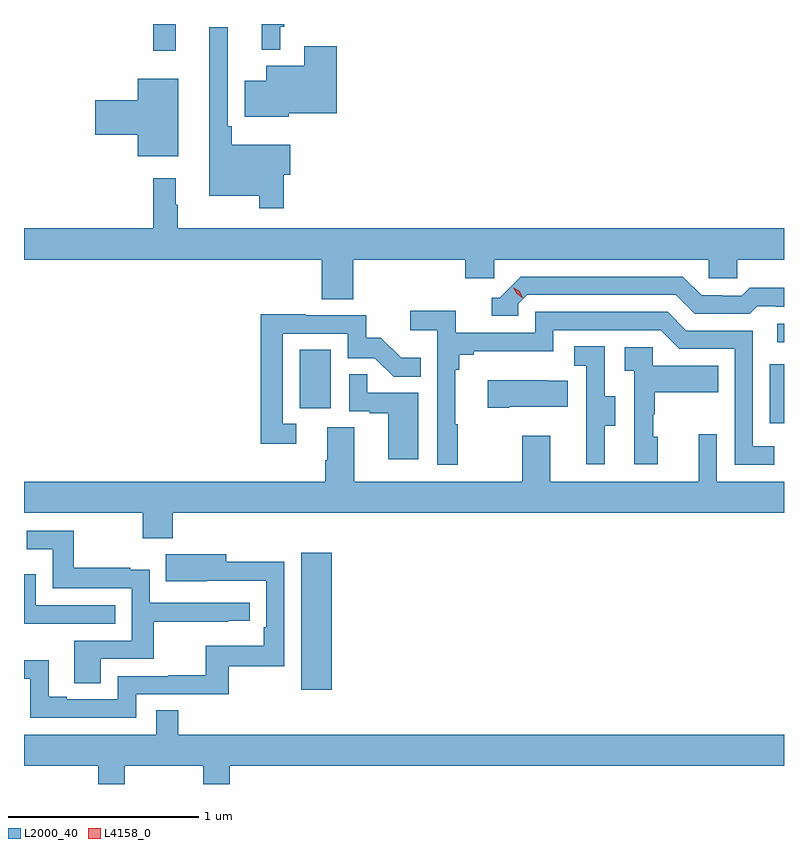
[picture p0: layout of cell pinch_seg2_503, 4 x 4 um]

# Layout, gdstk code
import gdstk
lib = gdstk.Library(unit=1e-6, precision=1e-09)
def R(c, l, rs):  # rectangles x0, y0, x1, y1
    for r in rs: c.add(gdstk.rectangle(r[:2], r[2:], *l))
def P(c, l, *ps):  # polygons
    for p in ps: c.add(gdstk.Polygon(p, *l))
L2000_40 = (2000, 40)
L4158_0 = (4158, 0)

pinch_seg2_503 = lib.new_cell('pinch_seg2_503')
R(pinch_seg2_503, L2000_40, [(1000.493,586.764,1000.654,587.485), (1002.96,588.168,1003.034,588.478), (1000.484,588.246,1000.648,588.553), (1002.999,588.594,1003.034,588.69), (999.715,590.127,999.833,590.268)])
P(pinch_seg2_503, L2000_40, [(1000.383,590.253),(1000.403,590.253),(1000.403,590.268),(1000.286,590.268),(1000.286,590.132),(1000.383,590.132)],
  [(1000.4,589.475),(1000.435,589.475),(1000.435,589.633),(1000.127,589.633),(1000.127,589.729),(1000.107,589.729),(1000.107,590.251),(1000.01,590.251),(1000.01,589.364),(1000.272,589.364),(1000.272,589.299),(1000.4,589.299)],
  [(1000.428,589.799),(1000.679,589.799),(1000.679,590.152),(1000.508,590.152),(1000.508,590.047),(1000.31,590.047),(1000.31,589.969),(1000.196,589.969),(1000.196,589.781),(1000.428,589.781)],
  [(999.847,589.981),(999.632,589.981),(999.632,589.868),(999.408,589.868),(999.408,589.685),(999.632,589.685),(999.632,589.571),(999.847,589.571)],
  [(1000.766,589.028),(1001.357,589.028),(1001.357,588.93),(1001.508,588.93),(1001.508,589.028),(1002.639,589.028),(1002.639,588.93),(1002.789,588.93),(1002.789,589.028),(1003.034,589.028),(1003.034,589.192),(999.844,589.192),(999.844,589.316),(999.832,589.316),(999.832,589.456),(999.715,589.456),(999.715,589.192),(999.034,589.192),(999.034,589.028),(1000.601,589.028),(1000.601,588.82),(1000.766,588.82)],
  [(1001.634,588.795),(1001.682,588.843),(1002.465,588.843),(1002.564,588.744),(1002.853,588.744),(1002.892,588.783),(1002.991,588.783),(1002.991,588.78),(1003.034,588.78),(1003.034,588.88),(1002.853,588.88),(1002.811,588.837),(1002.708,588.837),(1002.708,588.84),(1002.601,588.84),(1002.502,588.939),(1001.649,588.939),(1001.538,588.828),(1001.495,588.828),(1001.495,588.732),(1001.634,588.732)],
  [(1001.317,588.161),(1001.305,588.161),(1001.305,588.449),(1001.324,588.449),(1001.324,588.526),(1001.401,588.526),(1001.401,588.545),(1001.82,588.545),(1001.82,588.657),(1002.384,588.657),(1002.483,588.558),(1002.774,588.558),(1002.774,587.949),(1002.983,587.949),(1002.983,588.045),(1002.87,588.045),(1002.87,588.654),(1002.52,588.654),(1002.421,588.753),(1001.724,588.753),(1001.724,588.642),(1001.306,588.642),(1001.306,588.758),(1001.067,588.758),(1001.067,588.656),(1001.208,588.656),(1001.208,587.949),(1001.317,587.949)],
  [(1000.468,588.165),(1000.395,588.165),(1000.395,588.639),(1000.737,588.639),(1000.737,588.51),(1000.881,588.51),(1000.979,588.412),(1001.123,588.412),(1001.123,588.511),(1001.019,588.511),(1000.912,588.618),(1000.836,588.618),(1000.836,588.735),(1000.517,588.735),(1000.517,588.74),(1000.279,588.74),(1000.279,588.06),(1000.468,588.06)],
  [(1002.091,588.154),(1002.145,588.154),(1002.145,588.309),(1002.09,588.309),(1002.09,588.572),(1001.931,588.572),(1001.931,588.469),(1001.994,588.469),(1001.994,588.165),(1001.993,588.165),(1001.993,587.952),(1002.091,587.952)],
  [(1002.37,588.096),(1002.345,588.096),(1002.345,588.215),(1002.355,588.215),(1002.355,588.329),(1002.689,588.329),(1002.689,588.469),(1002.342,588.469),(1002.342,588.567),(1002.195,588.567),(1002.195,588.443),(1002.246,588.443),(1002.246,587.952),(1002.37,587.952)],
  [(1001.11,588.327),(1000.841,588.327),(1000.841,588.425),(1000.746,588.425),(1000.746,588.231),(1000.853,588.231),(1000.853,588.219),(1000.952,588.219),(1000.952,587.976),(1001.11,587.976)],
  [(1001.587,588.254),(1001.897,588.254),(1001.897,588.391),(1001.789,588.391),(1001.789,588.394),(1001.475,588.394),(1001.475,588.247),(1001.587,588.247)],
  [(1003.034,587.86),(1002.681,587.86),(1002.681,588.109),(1002.584,588.109),(1002.584,587.86),(1001.803,587.86),(1001.803,588.1),(1001.656,588.1),(1001.656,587.86),(1000.771,587.86),(1000.771,588.146),(1000.631,588.146),(1000.631,587.972),(1000.619,587.972),(1000.619,587.86),(999.034,587.86),(999.034,587.696),(999.658,587.696),(999.658,587.561),(999.818,587.561),(999.818,587.696),(1003.034,587.696)],
  [(999.439,586.926),(999.716,586.926),(999.716,587.122),(1000.109,587.122),(1000.109,587.127),(1000.222,587.127),(1000.222,587.223),(999.696,587.223),(999.696,587.395),(999.593,587.395),(999.593,587.407),(999.295,587.407),(999.295,587.601),(999.049,587.601),(999.049,587.504),(999.184,587.504),(999.184,587.298),(999.6,587.298),(999.6,587.022),(999.299,587.022),(999.299,586.798),(999.439,586.798)],
  [(999.624,586.74),(1000.111,586.74),(1000.111,586.887),(1000.404,586.887),(1000.404,587.438),(1000.099,587.438),(1000.099,587.476),(999.781,587.476),(999.781,587.336),(999.995,587.336),(999.995,587.337),(1000.308,587.337),(1000.308,587.092),(1000.295,587.092),(1000.295,586.996),(999.99,586.996),(999.99,586.841),(999.793,586.841),(999.793,586.836),(999.528,586.836),(999.528,586.713),(999.259,586.713),(999.259,586.726),(999.163,586.726),(999.163,586.919),(999.034,586.919),(999.034,586.821),(999.066,586.821),(999.066,586.617),(999.624,586.617)],
  [(999.515,587.208),(999.096,587.208),(999.096,587.371),(999.034,587.371),(999.034,587.112),(999.515,587.112)],
  [(999.565,586.364),(999.977,586.364),(999.977,586.268),(1000.117,586.268),(1000.117,586.364),(1003.034,586.364),(1003.034,586.528),(999.845,586.528),(999.845,586.655),(999.729,586.655),(999.729,586.528),(999.034,586.528),(999.034,586.364),(999.425,586.364),(999.425,586.268),(999.565,586.268)])
P(pinch_seg2_503, L4158_0, [(1001.657,588.828),(1001.627,588.848),(1001.61,588.881),(1001.61,588.881),(1001.611,588.881),(1001.642,588.861),(1001.658,588.829),(1001.658,588.828)])

lib.write_gds('pinch_seg2_503.gds')
